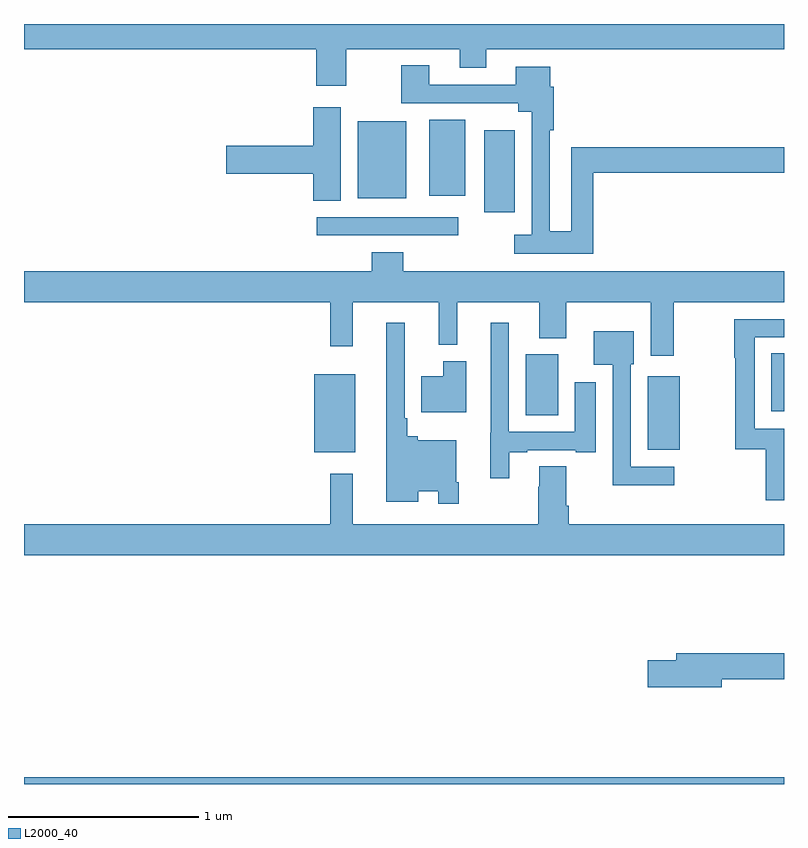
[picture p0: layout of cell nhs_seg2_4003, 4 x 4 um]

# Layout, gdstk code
import gdstk
lib = gdstk.Library(unit=1e-6, precision=1e-09)
def R(c, l, rs):  # rectangles x0, y0, x1, y1
    for r in rs: c.add(gdstk.rectangle(r[:2], r[2:], *l))
def P(c, l, *ps):  # polygons
    for p in ps: c.add(gdstk.Polygon(p, *l))
L2000_40 = (2000, 40)

nhs_seg2_4003 = lib.new_cell('nhs_seg2_4003')
R(nhs_seg2_4003, L2000_40, [(325,611.8,329,611.836), (326.528,613.547,326.743,613.957), (328.283,613.559,328.45,613.945), (327.641,613.742,327.811,614.062), (328.934,613.763,329,614.066), (326.541,614.688,327.286,614.784), (327.422,614.808,327.583,615.241), (326.756,614.882,327.013,615.289), (327.134,614.897,327.322,615.295)])
P(nhs_seg2_4003, L2000_40, [(329,615.8),(325,615.8),(325,615.668),(326.537,615.668),(326.537,615.474),(326.697,615.474),(326.697,615.668),(327.293,615.668),(327.293,615.569),(327.433,615.569),(327.433,615.668),(329,615.668)],
  [(327.995,615.016),(329,615.016),(329,615.152),(327.879,615.152),(327.879,614.708),(327.768,614.708),(327.768,615.242),(327.788,615.242),(327.788,615.47),(327.769,615.47),(327.769,615.574),(327.587,615.574),(327.587,615.48),(327.133,615.48),(327.133,615.583),(326.986,615.583),(326.986,615.384),(327.602,615.384),(327.602,615.338),(327.672,615.338),(327.672,614.692),(327.579,614.692),(327.579,614.592),(327.995,614.592)],
  [(326.668,615.361),(326.522,615.361),(326.522,615.158),(326.064,615.158),(326.064,615.011),(326.522,615.011),(326.522,614.869),(326.668,614.869)],
  [(328.419,614.336),(329,614.336),(329,614.5),(326.996,614.5),(326.996,614.599),(326.831,614.599),(326.831,614.5),(325,614.5),(325,614.336),(326.611,614.336),(326.611,614.103),(326.729,614.103),(326.729,614.336),(327.182,614.336),(327.182,614.111),(327.28,614.111),(327.28,614.336),(327.713,614.336),(327.713,614.147),(327.853,614.147),(327.853,614.336),(328.298,614.336),(328.298,614.055),(328.419,614.055)],
  [(329,613.671),(328.845,613.671),(328.845,614.151),(329,614.151),(329,614.247),(328.737,614.247),(328.737,614.044),(328.744,614.044),(328.744,613.563),(328.905,613.563),(328.905,613.293),(329,613.293)],
  [(327.553,613.545),(327.649,613.545),(327.649,613.557),(327.905,613.557),(327.905,613.545),(328.009,613.545),(328.009,613.915),(327.899,613.915),(327.899,613.653),(327.552,613.653),(327.552,614.227),(327.456,614.227),(327.456,613.65),(327.455,613.65),(327.455,613.41),(327.553,613.41)],
  [(327.289,613.387),(327.276,613.387),(327.276,613.609),(327.072,613.609),(327.072,613.63),(327.016,613.63),(327.016,613.726),(327.003,613.726),(327.003,614.227),(326.906,614.227),(326.906,613.286),(327.076,613.286),(327.076,613.34),(327.18,613.34),(327.18,613.275),(327.289,613.275)],
  [(328.423,613.47),(328.194,613.47),(328.194,614.01),(328.21,614.01),(328.21,614.182),(327.998,614.182),(327.998,614.006),(328.098,614.006),(328.098,613.373),(328.423,613.373)],
  [(327.328,614.026),(327.206,614.026),(327.206,613.945),(327.092,613.945),(327.092,613.757),(327.328,613.757)],
  [(329,613.168),(327.866,613.168),(327.866,613.264),(327.853,613.264),(327.853,613.472),(327.713,613.472),(327.713,613.364),(327.706,613.364),(327.706,613.168),(326.729,613.168),(326.729,613.432),(326.611,613.432),(326.611,613.168),(325,613.168),(325,613.004),(329,613.004)],
  [(328.672,612.352),(329,612.352),(329,612.488),(328.433,612.488),(328.433,612.452),(328.284,612.452),(328.284,612.31),(328.672,612.31)])

lib.write_gds('nhs_seg2_4003.gds')
